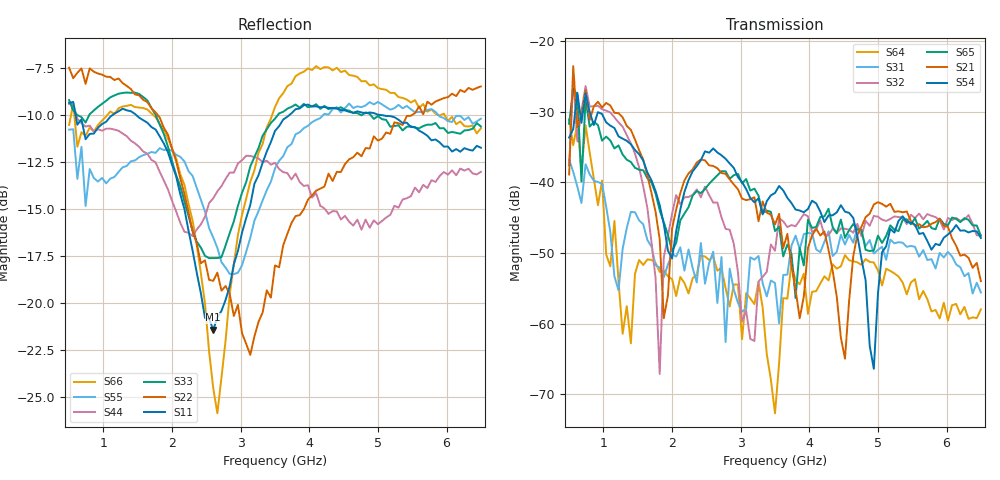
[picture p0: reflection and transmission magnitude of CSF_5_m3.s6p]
!Keysight Technologies,M9804A,MY58100912,A.14.10.03
!Date: Thursday, April 27, 2023 10:28:33
!Correction: S11(C  6-Port  )
!S12(C  6-Port  )
!S13(C  6-Port  )
!S14(C  6-Port  )
!S15(C  6-Port  )
!S16(C  6-Port  )
!S21(C  6-Port  )
!S22(C  6-Port  )
!S23(C  6-Port  )
!S24(C  6-Port  )
!S25(C  6-Port  )
!S26(C  6-Port  )
!S31(C  6-Port  )
!S32(C  6-Port  )
!S33(C  6-Port  )
!S34(C  6-Port  )
!S35(C  6-Port  )
!S36(C  6-Port  )
!S41(C  6-Port  )
!S42(C  6-Port  )
!S43(C  6-Port  )
!S44(C  6-Port  )
!S45(C  6-Port  )
!S46(C  6-Port  )
!S51(C  6-Port  )
!S52(C  6-Port  )
!S53(C  6-Port  )
!S54(C  6-Port  )
!S55(C  6-Port  )
!S56(C  6-Port  )
!S61(C  6-Port  )
!S62(C  6-Port  )
!S63(C  6-Port  )
!S64(C  6-Port  )
!S65(C  6-Port  )
!S66(C  6-Port  )
!S6P File: Measurement: :
# Hz S  RI  R 50
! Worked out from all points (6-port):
!   101 points, 500 MHz to 6.5 GHz, reference 50 ohm
!   strongest paths, dB at 500 MHz, 2 GHz, 3.5 GHz, 5 GHz, 6.5 GHz:
!     S54: -33.7, -50.8, -41.5, -55.8, -47.9
!     S21: -38.9, -46.6, -46.0, -42.8, -54.0
!     S65: -31.7, -49.7, -46.9, -47.6, -47.6
!     S32: -37.6, -44.5, -49.7, -44.9, -47.5
!     S31: -36.8, -50.2, -54.3, -49.6, -55.6
!     S64: -31.1, -53.7, -72.7, -52.5, -58.0
!   lowest |S11| = -21.4 dB at 2.6 GHz (marker M1), VSWR 1.19, Z = 42.5 + j2.29 ohm
!   |S11| at or under -10 dB: 593.2 MHz to 1.143 GHz (549.7 MHz wide, 63.3 % of centre); 1.47 GHz to 3.718 GHz (2.248 GHz wide, 86.7 % of centre); 4.994 GHz to end of sweep
